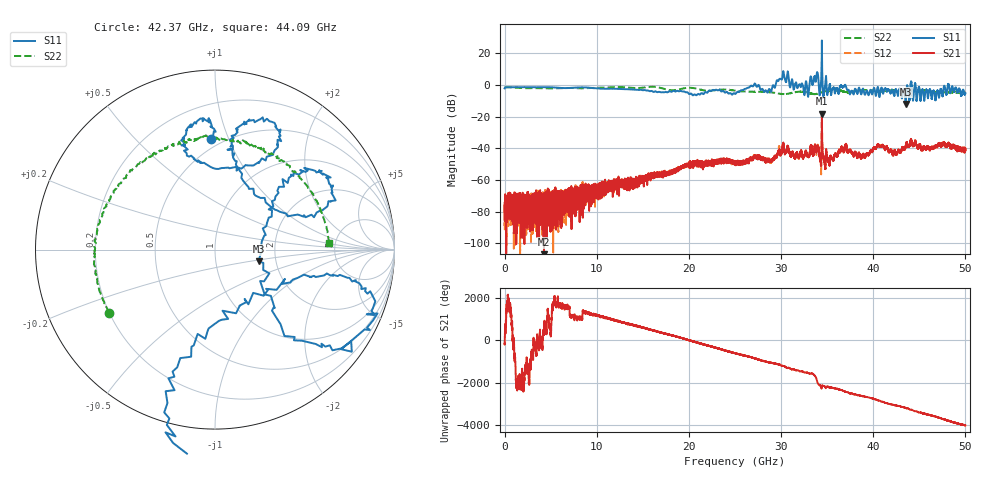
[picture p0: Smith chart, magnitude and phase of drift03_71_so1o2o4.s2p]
!Created with skrf (http://scikit-rf.org).
# Hz S RI R 50.0
!freq ReS11 ImS11 ReS21 ImS21 ReS12 ImS12 ReS22 ImS22
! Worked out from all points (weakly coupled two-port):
!   10000 points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, 5.3 MHz to 50 GHz, reference 50 ohm
!   highest |S21| = -18.04 dB at 34.43 GHz (marker M1); lowest = -107.0 dB at 4.275 GHz (marker M2)
!   lowest |S11| = -12.0 dB at 43.53 GHz (marker M3), VSWR 1.67, Z = 81 - j11.4 ohm
!   |S11| at or under -10 dB: 43.48918 GHz to 43.54324 GHz (54.06 MHz wide, 0.124 % of centre); 43.55249 GHz to 43.55582 GHz (3.332 MHz wide, 0.00765 % of centre); 44.70947 GHz to 44.71023 GHz (765.6 kHz wide, 0.00171 % of centre) (the widest 3 of 5)
!   |S22| runs from -5.8 to -1.1 dB; largest |S21 - S12| = 0.027
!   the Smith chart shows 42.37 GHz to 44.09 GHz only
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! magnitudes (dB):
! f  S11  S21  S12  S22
! 5.3 MHz  -2.1  -79.9  -73.9  -1.3
! 4.275 GHz  -1.4  -107.0  -72.0  -2.0
! 8.34 GHz  -1.5  -69.0  -67.9  -2.1
! 16.67 GHz  -4.4  -56.4  -57.3  -1.5
! 20.32 GHz  -5.8  -50.7  -50.8  -1.8
! 25.01 GHz  -5.5  -49.0  -48.3  -3.5
! 27.02 GHz  -0.3  -45.8  -45.0  -4.2
! 28.72 GHz  -2.5  -48.7  -46.7  -4.5
! 30.14 GHz  4.4  -39.6  -40.3  -5.7
! 32.74 GHz  2.0  -42.1  -42.5  -4.6
! 33.34 GHz  2.6  -39.1  -40.0  -5.5
! 33.82 GHz  4.0  -42.0  -41.7  -5.6
! 34.43 GHz  28.2  -18.0  -18.8  -4.6
! 35.3 GHz  0.5  -47.7  -46.7  -3.3
! 36.83 GHz  -0.8  -42.3  -41.7  -4.1
! 38.87 GHz  -2.4  -43.7  -43.5  -3.2
! 40.57 GHz  -3.0  -37.9  -37.8  -4.0
! 41.67 GHz  -2.8  -42.0  -42.4  -3.3
! 43.53 GHz  -12.0  -37.8  -38.5  -4.2
! 46.94 GHz  -3.7  -38.8  -38.7  -4.8
! 48.32 GHz  -4.5  -37.5  -37.3  -4.6
! 50 GHz  -5.3  -41.0  -41.0  -4.5
